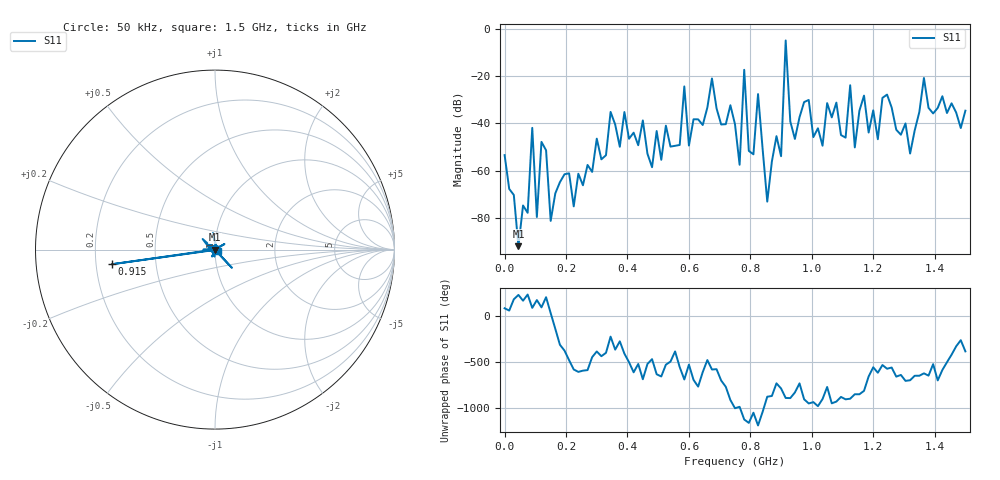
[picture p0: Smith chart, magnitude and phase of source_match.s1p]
! Created with skrf 1.8.0 (http://scikit-rf.org).
# Hz S RI R 50.0
!freq ReS11 ImS11
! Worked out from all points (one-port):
!   101 points, 50 kHz to 1.5 GHz, reference 50 ohm
!   lowest |S11| = -92.1 dB at 45.05 MHz (marker M1), VSWR 1.00, Z = 50 - j0.00202 ohm
!   |S11| at or under -10 dB: start of sweep to 913.4 MHz; 917.3 MHz to end of sweep
!   S11 on the Smith chart (normalised r, x): 50 kHz: 1.00, +0.00; 915 MHz: 0.27, -0.07; 1.5 GHz: 1.04, -0.01
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50000  5.26e-05 0.00213
4.50485e7  -1.43e-05 -2.02e-05
7.50475e7  -6.55e-05 -0.000108
9.0047e7  -0.000452 0.00807
1.050465e8  -0.000103 2.77e-06
1.20046e8  -0.000625 0.00402
1.50045e8  6.95e-05 4.92e-05
1.950435e8  0.000809 -0.000202
3.750375e8  0.000146 0.0032
5.70031e8  -0.00339 0.000873
5.850305e8  0.0529 0.0309
6.0003e8  -0.00331 -0.000745
6.750275e8  -0.0689 0.059
7.50025e8  0.00239 0.00931
7.650245e8  -3.31e-05 0.00133
7.80024e8  0.0941 -0.1014
8.10023e8  0.00197 0.001
8.250225e8  -0.0161 -0.039
8.550215e8  -0.000203 -8.13e-05
9.0002e8  0.000742 -0.00187
9.150195e8  -0.5759 -0.0818
9.450185e8  -0.00174 -0.00437
1.125012e9  -0.065 -6.6e-05
1.140012e9  -0.00204 -0.00234
1.245008e9  -0.0347 0.0221
1.320006e9  0.00214 0.000849
1.365004e9  -0.0118 0.0921
1.5e9  0.0173 -0.00723
